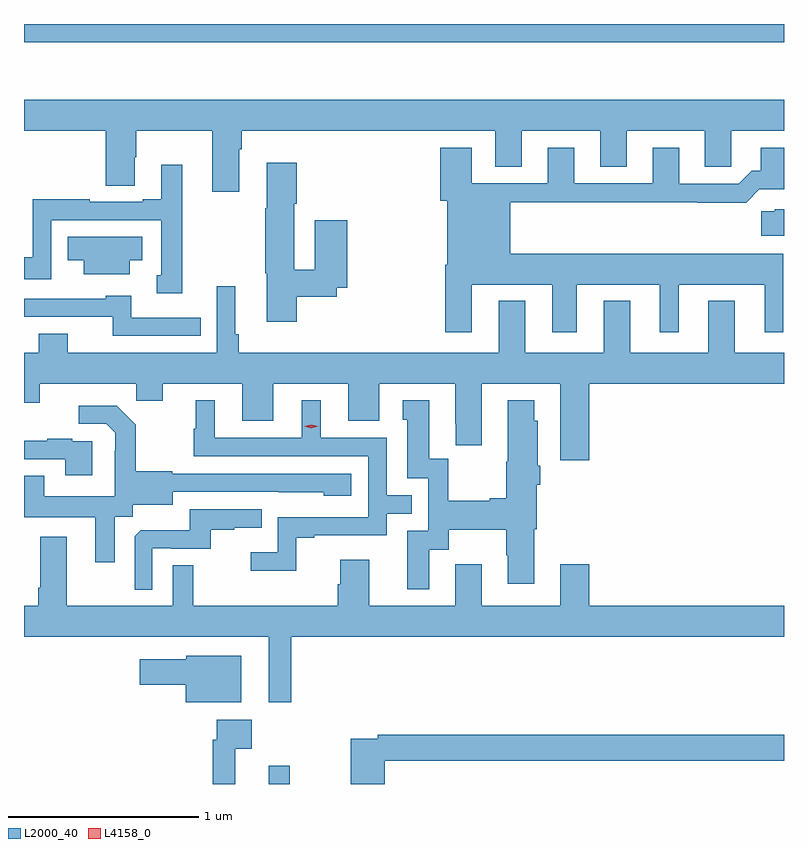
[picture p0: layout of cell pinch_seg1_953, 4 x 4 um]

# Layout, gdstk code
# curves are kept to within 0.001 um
import gdstk
lib = gdstk.Library(unit=1e-6, precision=1e-09)
def R(c, l, rs):  # rectangles x0, y0, x1, y1
    for r in rs: c.add(gdstk.rectangle(r[:2], r[2:], *l))
def P(c, l, *ps):  # polygons
    for p in ps: c.add(gdstk.Polygon(p, *l))
L2000_40 = (2000, 40)
L4158_0 = (4158, 0)

pinch_seg1_953 = lib.new_cell('pinch_seg1_953')
R(pinch_seg1_953, L2000_40, [(348.944,533.642,349.054,533.737), (347.655,537.546,351.655,537.642)])
P(pinch_seg1_953, L2000_40, [(348.787,536.984),(348.8,536.984),(348.8,537.08),(350.135,537.08),(350.135,536.89),(350.275,536.89),(350.275,537.08),(350.687,537.08),(350.687,536.89),(350.827,536.89),(350.827,537.08),(351.239,537.08),(351.239,536.89),(351.378,536.89),(351.378,537.08),(351.655,537.08),(351.655,537.244),(347.655,537.244),(347.655,537.08),(348.086,537.08),(348.086,536.791),(348.238,536.791),(348.238,536.942),(348.246,536.942),(348.246,537.08),(348.647,537.08),(348.647,536.76),(348.787,536.76)],
  [(350.011,536.27),(350.435,536.27),(350.435,536.019),(350.563,536.019),(350.563,536.27),(351.002,536.27),(351.002,536.019),(351.1,536.019),(351.1,536.27),(351.554,536.27),(351.554,536.019),(351.652,536.019),(351.652,536.434),(350.215,536.434),(350.215,536.704),(351.199,536.704),(351.199,536.702),(351.455,536.702),(351.525,536.772),(351.655,536.772),(351.655,536.992),(351.533,536.992),(351.533,536.869),(351.484,536.869),(351.417,536.802),(351.103,536.802),(351.103,536.992),(350.963,536.992),(350.963,536.805),(350.551,536.805),(350.551,536.992),(350.411,536.992),(350.411,536.805),(350.011,536.805),(350.011,536.992),(349.847,536.992),(349.847,536.712),(349.883,536.712),(349.883,536.374),(349.871,536.374),(349.871,536.019),(350.011,536.019)],
  [(349.091,536.206),(349.3,536.206),(349.3,536.255),(349.355,536.255),(349.355,536.608),(349.184,536.608),(349.184,536.348),(349.078,536.348),(349.078,536.695),(349.091,536.695),(349.091,536.911),(348.932,536.911),(348.932,536.672),(348.925,536.672),(348.925,536.331),(348.932,536.331),(348.932,536.076),(349.091,536.076)],
  [(348.487,536.902),(348.377,536.902),(348.377,536.719),(348.281,536.719),(348.281,536.706),(348.002,536.706),(348.002,536.719),(347.701,536.719),(347.701,536.414),(347.655,536.414),(347.655,536.298),(347.799,536.298),(347.799,536.61),(348.378,536.61),(348.378,536.319),(348.353,536.319),(348.353,536.225),(348.487,536.225)],
  [(351.655,536.668),(351.606,536.668),(351.606,536.657),(351.534,536.657),(351.534,536.528),(351.655,536.528)],
  [(348.211,536.399),(348.277,536.399),(348.277,536.521),(347.884,536.521),(347.884,536.399),(347.969,536.399),(347.969,536.324),(348.211,536.324)],
  [(348.803,535.554),(348.967,535.554),(348.967,535.748),(349.361,535.748),(349.361,535.554),(349.525,535.554),(349.525,535.748),(349.925,535.748),(349.925,535.537),(349.928,535.537),(349.928,535.425),(350.065,535.425),(350.065,535.748),(350.477,535.748),(350.477,535.347),(350.63,535.347),(350.63,535.748),(351.655,535.748),(351.655,535.912),(351.397,535.912),(351.397,536.185),(351.257,536.185),(351.257,535.912),(350.845,535.912),(350.845,536.185),(350.705,536.185),(350.705,535.912),(350.293,535.912),(350.293,536.185),(350.153,536.185),(350.153,535.912),(348.785,535.912),(348.785,536.008),(348.766,536.008),(348.766,536.263),(348.669,536.263),(348.669,535.912),(347.884,535.912),(347.884,536.011),(347.732,536.011),(347.732,535.912),(347.655,535.912),(347.655,535.649),(347.737,535.649),(347.737,535.748),(348.247,535.748),(348.247,535.658),(348.385,535.658),(348.385,535.748),(348.803,535.748)],
  [(348.584,536.097),(348.22,536.097),(348.22,536.212),(348.084,536.212),(348.084,536.196),(347.655,536.196),(347.655,536.1),(348.121,536.1),(348.121,536.001),(348.584,536.001)],
  [(349.089,534.939),(349.183,534.939),(349.183,534.951),(349.563,534.951),(349.563,535.065),(349.697,535.065),(349.697,535.161),(349.563,535.161),(349.563,535.464),(349.216,535.464),(349.216,535.663),(349.118,535.663),(349.118,535.464),(348.658,535.464),(348.658,535.663),(348.56,535.663),(348.56,535.512),(348.549,535.512),(348.549,535.368),(349.467,535.368),(349.467,535.047),(348.99,535.047),(348.99,534.862),(348.849,534.862),(348.849,534.764),(349.089,534.764)],
  [(349.789,534.874),(349.891,534.874),(349.891,534.98),(350.194,534.98),(350.194,534.846),(350.201,534.846),(350.201,534.696),(350.341,534.696),(350.341,534.984),(350.354,534.984),(350.354,535.218),(350.372,535.218),(350.372,535.318),(350.359,535.318),(350.359,535.554),(350.341,535.554),(350.341,535.663),(350.201,535.663),(350.201,535.337),(350.194,535.337),(350.194,535.145),(350.105,535.145),(350.105,535.132),(349.887,535.132),(349.887,535.355),(349.789,535.355),(349.789,535.663),(349.649,535.663),(349.649,535.56),(349.673,535.56),(349.673,535.251),(349.782,535.251),(349.782,534.975),(349.673,534.975),(349.673,534.666),(349.789,534.666)],
  [(348.133,535.048),(348.228,535.048),(348.228,535.112),(348.439,535.112),(348.439,535.179),(349.233,535.178),(349.233,535.16),(349.378,535.16),(349.378,535.275),(348.435,535.275),(348.435,535.288),(348.243,535.288),(348.243,535.533),(348.143,535.633),(347.943,535.633),(347.943,535.539),(348.087,535.539),(348.134,535.492),(348.134,535.397),(348.132,535.397),(348.132,535.156),(347.761,535.156),(347.761,535.265),(347.655,535.265),(347.655,535.046),(348.029,535.046),(348.029,534.81),(348.133,534.81)],
  [(348.013,535.446),(347.909,535.446),(347.909,535.459),(347.777,535.459),(347.777,535.448),(347.655,535.448),(347.655,535.35),(347.873,535.35),(347.873,535.266),(348.013,535.266)],
  [(348.33,534.882),(348.43,534.882),(348.43,534.879),(348.638,534.879),(348.638,534.981),(348.761,534.981),(348.761,534.992),(348.905,534.992),(348.905,535.089),(348.528,535.089),(348.528,534.977),(348.269,534.977),(348.237,534.945),(348.237,534.665),(348.33,534.665)],
  [(349.061,534.416),(351.655,534.416),(351.655,534.58),(350.63,534.58),(350.63,534.799),(350.477,534.799),(350.477,534.58),(350.065,534.58),(350.065,534.799),(349.925,534.799),(349.925,534.58),(349.471,534.58),(349.471,534.823),(349.319,534.823),(349.319,534.693),(349.307,534.693),(349.307,534.58),(348.547,534.58),(348.547,534.794),(348.438,534.794),(348.438,534.58),(347.881,534.58),(347.881,534.943),(347.741,534.943),(347.741,534.676),(347.729,534.676),(347.729,534.58),(347.655,534.58),(347.655,534.416),(348.944,534.416),(348.944,534.072),(349.061,534.072)],
  [(348.799,534.316),(348.51,534.316),(348.51,534.298),(348.264,534.298),(348.264,534.164),(348.506,534.164),(348.506,534.071),(348.799,534.071)],
  [(348.767,533.828),(348.853,533.828),(348.853,533.98),(348.669,533.98),(348.669,533.876),(348.649,533.876),(348.649,533.642),(348.767,533.642)],
  [(349.553,533.764),(351.655,533.764),(351.655,533.9),(349.516,533.9),(349.516,533.88),(349.375,533.88),(349.375,533.642),(349.553,533.642)])
P(pinch_seg1_953, L4158_0, [(349.167,535.514),(349.131,535.524),(349.131,535.524),(349.131,535.524),(349.167,535.534),(349.203,535.524),(349.203,535.524),(349.203,535.524)])

lib.write_gds('pinch_seg1_953.gds')
